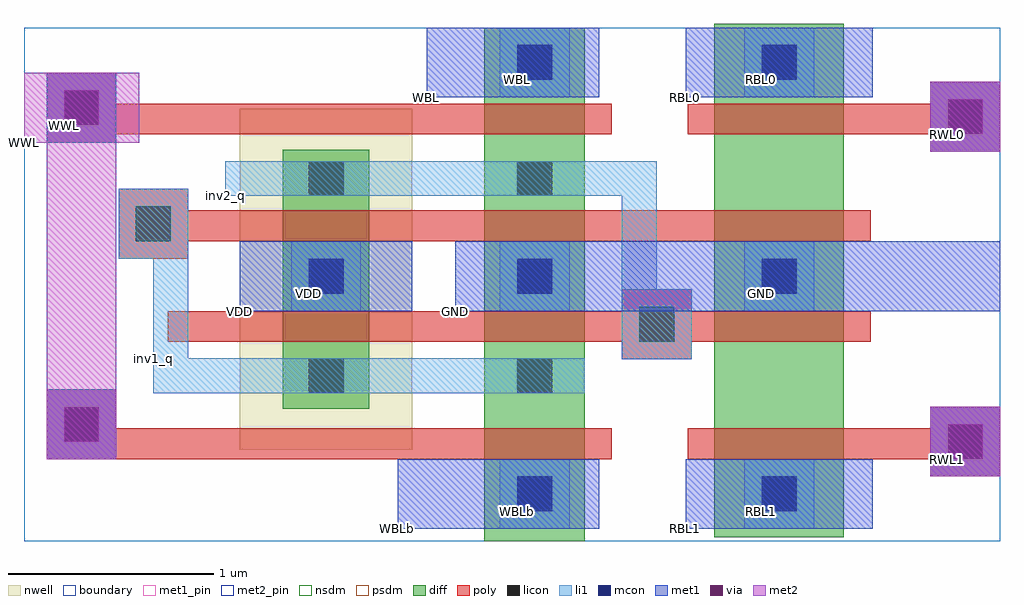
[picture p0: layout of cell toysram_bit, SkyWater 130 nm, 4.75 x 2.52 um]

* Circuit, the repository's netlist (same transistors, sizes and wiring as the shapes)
* NGSPICE file created from toysram_bit.ext - technology: sky130A

.subckt toysram_bit WWL WBL inv2_q GND VDD inv1_q WBLb RBL0 RBL1 RWL0 RWL1
X0 RBL0 RWL0 a_672_322# VSUBS sky130_fd_pr__nfet_01v8 ad=0.246 pd=2.04 as=0.117 ps=1 w=0.63 l=0.15
X1 GND inv2_q inv1_q VSUBS sky130_fd_pr__nfet_01v8 ad=0.0833 pd=0.83 as=0.103 ps=0.91 w=0.49 l=0.15
X2 inv2_q inv1_q GND VSUBS sky130_fd_pr__nfet_01v8 ad=0.0906 pd=0.86 as=0.0833 ps=0.83 w=0.49 l=0.15
X3 WBL WWL inv2_q VSUBS sky130_fd_pr__nfet_01v8 ad=0.181 pd=1.72 as=0.0906 ps=0.86 w=0.49 l=0.15
X4 inv2_q inv1_q VDD w_210_89# sky130_fd_pr__pfet_01v8 ad=0.124 pd=1.43 as=0.0714 ps=0.76 w=0.42 l=0.15
X5 VDD inv2_q inv1_q w_210_89# sky130_fd_pr__pfet_01v8 ad=0.0714 pd=0.76 as=0.137 ps=1.49 w=0.42 l=0.15
X6 inv1_q WWL WBLb VSUBS sky130_fd_pr__nfet_01v8 ad=0.103 pd=0.91 as=0.196 ps=1.78 w=0.49 l=0.15
X7 a_672_110# RWL1 RBL1 VSUBS sky130_fd_pr__nfet_01v8 ad=0.132 pd=1.05 as=0.239 ps=2.02 w=0.63 l=0.15
X8 GND inv2_q a_672_110# VSUBS sky130_fd_pr__nfet_01v8 ad=0.107 pd=0.97 as=0.132 ps=1.05 w=0.63 l=0.15
X9 a_672_322# inv1_q GND VSUBS sky130_fd_pr__nfet_01v8 ad=0.117 pd=1 as=0.107 ps=0.97 w=0.63 l=0.15
.ends

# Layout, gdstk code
import gdstk
lib = gdstk.Library(unit=1e-6, precision=1e-09)
def R(c, l, rs):  # rectangles x0, y0, x1, y1
    for r in rs: c.add(gdstk.rectangle(r[:2], r[2:], *l))
nwell = (64, 20)
diff = (65, 20)
poly = (66, 20)
licon = (66, 44)
li1 = (67, 20)
mcon = (67, 44)
met1_pin = (68, 16)
met1 = (68, 20)
via = (68, 44)
met2_pin = (69, 16)
met2 = (69, 20)
nsdm = (93, 44)
psdm = (94, 20)
boundary = (235, 4)

toysram_bit = lib.new_cell('toysram_bit')
R(toysram_bit, nwell, [(1.05,0.445,1.89,2.105)])
R(toysram_bit, diff, [(2.24,0,2.73,2.5), (3.36,0.018,3.99,2.518), (1.26,0.645,1.68,1.905)])
R(toysram_bit, poly, [(4.41,0.315,4.75,0.655), (0.11,0.4,0.45,0.74), (0.45,0.4,2.86,0.55), (3.23,0.4,4.75,0.55), (2.91,0.885,3.25,1.225), (0.7,0.97,4.12,1.12), (0.46,1.375,0.8,1.715), (0.7,1.46,4.12,1.61), (4.41,1.895,4.75,2.235), (0.11,1.94,0.45,2.28), (0.28,1.98,2.86,2.13), (3.23,1.98,4.75,2.13)])
R(toysram_bit, licon, [(2.4,0.145,2.57,0.315), (3.59,0.145,3.76,0.315), (4.495,0.4,4.665,0.57), (0.195,0.485,0.365,0.655), (1.385,0.72,1.555,0.89), (2.4,0.72,2.57,0.89), (2.995,0.97,3.165,1.14), (1.385,1.205,1.555,1.375), (2.4,1.205,2.57,1.375), (3.59,1.205,3.76,1.375), (0.545,1.46,0.715,1.63), (1.385,1.68,1.555,1.85), (2.4,1.68,2.57,1.85), (4.495,1.98,4.665,2.15), (0.195,2.025,0.365,2.195), (2.4,2.245,2.57,2.415), (3.59,2.245,3.76,2.415)])
R(toysram_bit, li1, [(2.315,0.06,2.655,0.4), (3.505,0.06,3.845,0.4), (4.41,0.315,4.75,0.655), (0.11,0.4,0.45,0.74), (0.63,0.72,2.73,0.89), (1.385,0.72,1.555,0.89), (2.4,0.72,2.57,0.89), (2.91,0.885,3.25,1.225), (0.63,0.89,0.8,1.56), (2.91,0.98,3.08,1.68), (1.3,1.12,1.64,1.46), (2.315,1.12,2.655,1.46), (3.505,1.12,3.845,1.46), (0.46,1.375,0.8,1.715), (0.98,1.68,3.08,1.85), (1.385,1.68,1.555,1.85), (2.4,1.68,2.57,1.85), (4.41,1.895,4.75,2.235), (0.11,1.94,0.45,2.28), (2.315,2.16,2.655,2.5), (3.505,2.16,3.845,2.5)])
R(toysram_bit, mcon, [(2.4,0.145,2.57,0.315), (3.59,0.145,3.76,0.315), (4.495,0.4,4.665,0.57), (0.195,0.485,0.365,0.655), (1.385,1.205,1.555,1.375), (2.4,1.205,2.57,1.375), (3.59,1.205,3.76,1.375), (4.495,1.98,4.665,2.15), (0.195,2.025,0.365,2.195), (2.4,2.245,2.57,2.415), (3.59,2.245,3.76,2.415)])
R(toysram_bit, met1_pin, [(2.4,0.145,2.57,0.315), (3.59,0.145,3.76,0.315), (1.385,1.205,1.555,1.375), (3.59,1.205,3.76,1.375), (2.4,2.245,2.57,2.415), (3.59,2.245,3.76,2.415)])
R(toysram_bit, met1, [(1.82,0.06,2.8,0.4), (2.315,0.06,2.655,0.4), (3.22,0.06,4.13,0.4), (3.505,0.06,3.845,0.4), (4.41,0.315,4.75,0.655), (0.11,0.4,0.45,0.74), (1.05,1.12,1.89,1.46), (1.3,1.12,1.64,1.46), (2.1,1.12,4.75,1.46), (2.315,1.12,2.655,1.46), (3.505,1.12,3.845,1.46), (4.41,1.895,4.75,2.235), (0.11,1.94,0.45,2.28), (1.96,2.16,2.8,2.5), (2.315,2.16,2.655,2.5), (3.22,2.16,4.13,2.5), (3.505,2.16,3.845,2.5)])
R(toysram_bit, via, [(4.495,0.4,4.665,0.57), (0.195,0.485,0.365,0.655), (4.495,1.98,4.665,2.15), (0.195,2.025,0.365,2.195)])
R(toysram_bit, met2_pin, [(4.495,0.4,4.665,0.57), (4.495,1.98,4.665,2.15), (0.195,2.025,0.365,2.195)])
R(toysram_bit, met2, [(4.41,0.315,4.75,0.655), (0.11,0.4,0.45,1.94), (0.11,0.4,0.45,0.74), (4.41,1.895,4.75,2.235), (0,1.94,0.56,2.28), (0.11,1.94,0.45,2.28)])
R(toysram_bit, nsdm, [(2.24,0,2.73,2.5), (3.36,0.018,3.99,2.518)])
R(toysram_bit, psdm, [(1.26,0.645,1.68,1.905)])
R(toysram_bit, boundary, [(0,0,4.75,2.5)])
toysram_bit.add(gdstk.Label('WWL', (0,1.94), layer=69, texttype=5))
toysram_bit.add(gdstk.Label('WBL', (1.96,2.16), layer=68, texttype=5))
toysram_bit.add(gdstk.Label('inv2_q', (0.98,1.68), layer=67, texttype=16))
toysram_bit.add(gdstk.Label('GND', (2.1,1.12), layer=68, texttype=5))
toysram_bit.add(gdstk.Label('VDD', (1.05,1.12), layer=68, texttype=5))
toysram_bit.add(gdstk.Label('inv1_q', (0.63,0.89), layer=67, texttype=16))
toysram_bit.add(gdstk.Label('WBLb', (1.82,0.06), layer=68, texttype=5))
toysram_bit.add(gdstk.Label('RBL0', (3.22,2.16), layer=68, texttype=5))
toysram_bit.add(gdstk.Label('RBL1', (3.22,0.06), layer=68, texttype=5))
toysram_bit.add(gdstk.Label('VDD', (1.385,1.205), layer=68, texttype=5))
toysram_bit.add(gdstk.Label('WBL', (2.4,2.245), layer=68, texttype=5))
toysram_bit.add(gdstk.Label('WWL', (0.195,2.025), layer=69, texttype=5))
toysram_bit.add(gdstk.Label('WBLb', (2.4,0.145), layer=68, texttype=5))
toysram_bit.add(gdstk.Label('RBL0', (3.59,2.245), layer=68, texttype=5))
toysram_bit.add(gdstk.Label('RBL1', (3.59,0.145), layer=68, texttype=5))
toysram_bit.add(gdstk.Label('GND', (3.59,1.205), layer=68, texttype=5))
toysram_bit.add(gdstk.Label('RWL0', (4.495,1.98), layer=69, texttype=5))
toysram_bit.add(gdstk.Label('RWL1', (4.495,0.4), layer=69, texttype=5))

lib.write_gds('toysram_bit.gds')
